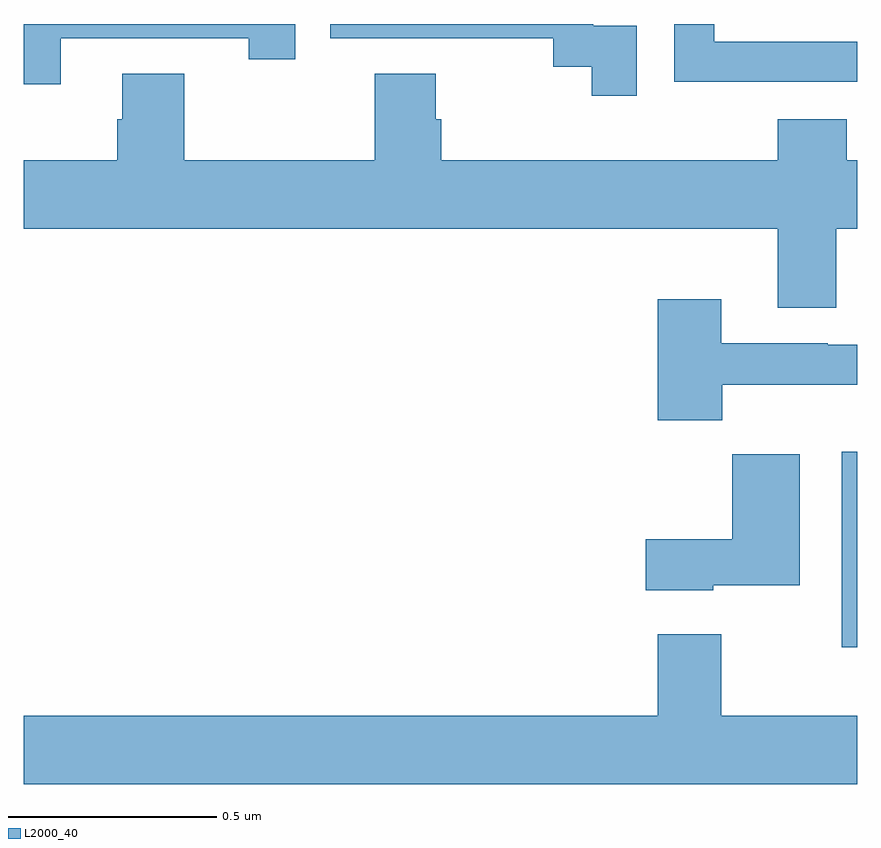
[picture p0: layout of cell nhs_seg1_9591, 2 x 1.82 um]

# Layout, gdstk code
import gdstk
lib = gdstk.Library(unit=1e-6, precision=1e-09)
def R(c, l, rs):  # rectangles x0, y0, x1, y1
    for r in rs: c.add(gdstk.rectangle(r[:2], r[2:], *l))
def P(c, l, *ps):  # polygons
    for p in ps: c.add(gdstk.Polygon(p, *l))
L2000_40 = (2000, 40)

nhs_seg1_9591 = lib.new_cell('nhs_seg1_9591')
R(nhs_seg1_9591, L2000_40, [(231.962,574.704,232,575.173)])
P(nhs_seg1_9591, L2000_40, [(232,576.156),(231.657,576.156),(231.657,576.199),(231.561,576.199),(231.561,576.06),(232,576.06)],
  [(230.089,576.165),(230.54,576.165),(230.54,576.114),(230.651,576.114),(230.651,576.199),(230,576.199),(230,576.054),(230.089,576.054)],
  [(231.471,576.195),(231.366,576.195),(231.366,576.199),(230.736,576.199),(230.736,576.165),(231.27,576.165),(231.27,576.097),(231.363,576.097),(231.363,576.027),(231.471,576.027)],
  [(231.949,575.708),(232,575.708),(232,575.872),(231.974,575.872),(231.974,575.971),(231.809,575.971),(231.809,575.872),(231.002,575.872),(231.002,575.97),(230.989,575.97),(230.989,576.08),(230.842,576.08),(230.842,575.872),(230.385,575.872),(230.385,576.08),(230.237,576.08),(230.237,575.97),(230.225,575.97),(230.225,575.872),(230,575.872),(230,575.708),(231.809,575.708),(231.809,575.518),(231.949,575.518)],
  [(231.676,575.334),(232,575.334),(232,575.43),(231.929,575.43),(231.929,575.433),(231.673,575.433),(231.673,575.539),(231.521,575.539),(231.521,575.249),(231.676,575.249)],
  [(231.654,574.853),(231.862,574.853),(231.862,575.167),(231.7,575.167),(231.7,574.963),(231.492,574.963),(231.492,574.841),(231.654,574.841)],
  [(232,574.54),(231.673,574.54),(231.673,574.735),(231.521,574.735),(231.521,574.54),(230,574.54),(230,574.376),(232,574.376)])

lib.write_gds('nhs_seg1_9591.gds')
